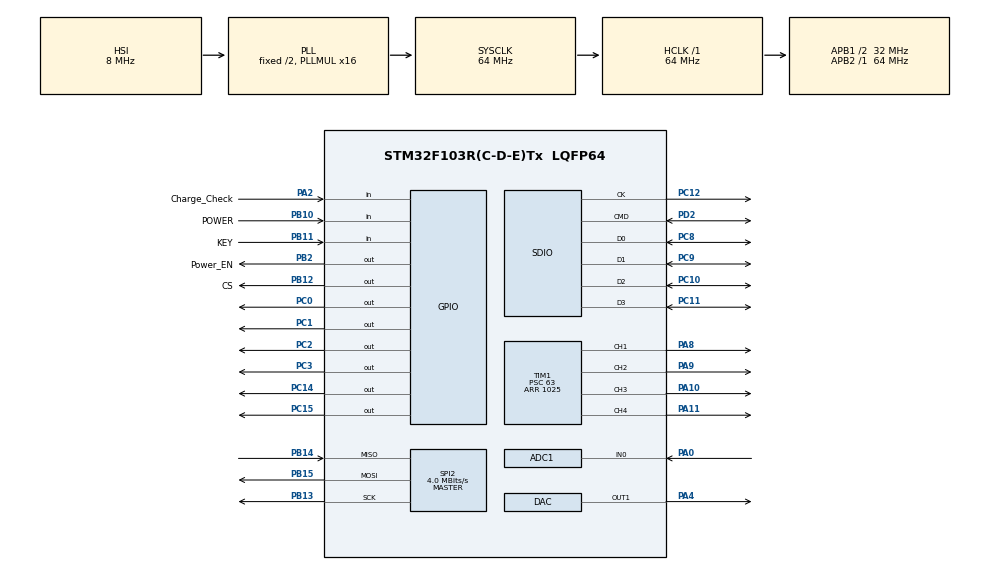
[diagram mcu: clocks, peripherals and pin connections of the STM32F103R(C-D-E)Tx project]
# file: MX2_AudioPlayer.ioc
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ADC1.Channel-0\#ChannelRegularConversion=ADC_CHANNEL_0
ADC1.ContinuousConvMode=ENABLE
ADC1.DataAlign=ADC_DATAALIGN_RIGHT
ADC1.DiscontinuousConvMode=DISABLE
ADC1.EnableAnalogWatchDog=false
ADC1.EnableRegularConversion=ENABLE
ADC1.ExternalTrigConv=ADC_SOFTWARE_START
ADC1.InjNumberOfConversion=0
ADC1.NbrOfConversion=1
ADC1.NbrOfConversionFlag=1
ADC1.Rank-0\#ChannelRegularConversion=1
ADC1.SamplingTime-0\#ChannelRegularConversion=ADC_SAMPLETIME_239CYCLES_5
ADC1.ScanConvMode=ADC_SCAN_DISABLE
ADC1.master=1
DAC.DAC_Trigger=DAC_TRIGGER_T7_TRGO
Dma.ADC1.0.Direction=DMA_PERIPH_TO_MEMORY
Dma.ADC1.0.Instance=DMA1_Channel1
Dma.ADC1.0.MemDataAlignment=DMA_MDATAALIGN_HALFWORD
Dma.ADC1.0.MemInc=DMA_MINC_ENABLE
Dma.ADC1.0.Mode=DMA_CIRCULAR
Dma.ADC1.0.PeriphDataAlignment=DMA_PDATAALIGN_HALFWORD
Dma.ADC1.0.PeriphInc=DMA_PINC_DISABLE
Dma.ADC1.0.Priority=DMA_PRIORITY_LOW
Dma.DAC_CH1.1.Direction=DMA_MEMORY_TO_PERIPH
Dma.DAC_CH1.1.Instance=DMA2_Channel3
Dma.DAC_CH1.1.MemDataAlignment=DMA_MDATAALIGN_HALFWORD
Dma.DAC_CH1.1.MemInc=DMA_MINC_ENABLE
Dma.DAC_CH1.1.Mode=DMA_NORMAL
Dma.DAC_CH1.1.PeriphDataAlignment=DMA_PDATAALIGN_HALFWORD
Dma.DAC_CH1.1.PeriphInc=DMA_PINC_DISABLE
Dma.DAC_CH1.1.Priority=DMA_PRIORITY_LOW
Dma.Request0=ADC1
Dma.Request1=DAC_CH1
FATFS._CODE_PAGE=437
FATFS._FS_MINIMIZE=1
FATFS._MAX_LFN=30
FATFS._USE_LFN=3
FATFS._USE_MKFS=0
FATFS._WORD_ACCESS=1
FREERTOS.BinarySemaphores01=DAC_Complete_Flag
FREERTOS.INCLUDE_uxTaskGetStackHighWaterMark=1
FREERTOS.Queues01=DAC_Buffer,3,uint32_t,NULL,Dynamic,NULL,NULL;DAC_CMD,16,uint32_t,NULL,Dynamic,NULL,NULL;LED_CMD,16,uint32_t,NULL,Dynamic,NULL,NULL
FREERTOS.Tasks01=defaultTask,2,1024,StartDefaultTask,As weak,NULL,Dynamic,NULL,NULL;DACTask,0,128,DACOutput,As weak,NULL,Dynamic,NULL,NULL;LEDTask,3,128,LEDOpra,As weak,NULL,Dynamic,NULL,NULL;WavTask,1,1024,Wav_Task,As weak,NULL,Dynamic,NULL,NULL
FREERTOS.configCHECK_FOR_STACK_OVERFLOW=2
FREERTOS.configTIMER_TASK_STACK_DEPTH=512
FREERTOS.configTOTAL_HEAP_SIZE=15000
FREERTOS.configUSE_MALLOC_FAILED_HOOK=1
Mcu.Family=STM32F1
Mcu.Name=STM32F103R(C-D-E)Tx
Mcu.Package=LQFP64
Mcu.UserConstants=PATH_CONFIG,"0\://SETTING.txt";WAV_BOOT,"0\:/System/Boot.wav";WAV_CHARGING,"0\:/System/charging.wav";WAV_COLORSWITCH,"0\:/System/ColorSwitch.wav";WAV_LOWPOWER,"0\:/System/lowpower.wav";WAV_POWEROFF,"0\:/System/Poweroff.wav";WAV_RECHARGE,"0\:/System/Recharge.wav";WAV_ERROR,"0\:/System/alarm.wav";Trigger_B_name,"Swing";Trigger_C_name,"Clash";Trigger_D_name,"Blaster";Trigger_E_name,"Lockup"
NVIC.DMA1_Channel1_IRQn=true\:5\:0\:true\:false\:true\:true
NVIC.DMA2_Channel3_IRQn=true\:5\:0\:false\:false\:true\:true
NVIC.PriorityGroup=NVIC_PRIORITYGROUP_4
NVIC.TIM6_IRQn=true\:0\:0\:false\:false\:true\:false
NVIC.TimeBase=TIM6_IRQn
NVIC.TimeBaseIP=TIM6
PA0-WKUP.Signal=ADCx_IN0
PA10.Signal=S_TIM1_CH3
PA11.Signal=S_TIM1_CH4
PA13.Mode=Trace_Asynchronous_SW
PA13.Signal=SYS_JTMS-SWDIO
PA14.Mode=Trace_Asynchronous_SW
PA14.Signal=SYS_JTCK-SWCLK
PA2.GPIO_Label=Charge_Check
PA2.GPIO_Mode=GPIO_MODE_INPUT
PA2.GPIO_PuPd=GPIO_NOPULL
PA2.Signal=GPIO_Input
PA4.Signal=COMP_DAC1_group
PA8.Signal=S_TIM1_CH1
PA9.Signal=S_TIM1_CH2
PB10.GPIO_Label=POWER
PB10.GPIO_Mode=GPIO_MODE_INPUT
PB10.GPIO_PuPd=GPIO_PULLDOWN
PB10.Signal=GPIO_Input
PB11.GPIO_Label=KEY
PB11.GPIO_Mode=GPIO_MODE_INPUT
PB11.GPIO_PuPd=GPIO_PULLUP
PB11.Signal=GPIO_Input
PB12.GPIO_Label=CS
PB12.GPIO_ModeDefaultOutputPP=GPIO_MODE_OUTPUT_PP
PB12.GPIO_Speed=GPIO_SPEED_FREQ_HIGH
PB12.PinState=GPIO_PIN_SET
PB12.Signal=GPIO_Output
PB13.Mode=Full_Duplex_Master
PB13.Signal=SPI2_SCK
PB14.Mode=Full_Duplex_Master
PB14.Signal=SPI2_MISO
PB15.Mode=Full_Duplex_Master
PB15.Signal=SPI2_MOSI
PB2.GPIO_Label=Power_EN
PB2.GPIO_ModeDefaultOutputPP=GPIO_MODE_OUTPUT_PP
PB2.GPIO_Speed=GPIO_SPEED_FREQ_LOW
PB2.PinState=GPIO_PIN_RESET
PB2.Signal=GPIO_Output
PB3.Mode=Trace_Asynchronous_SW
PB3.Signal=SYS_JTDO-TRACESWO
PC0.GPIO_ModeDefaultOutputPP=GPIO_MODE_OUTPUT_PP
PC0.GPIO_Speed=GPIO_SPEED_FREQ_LOW
PC0.PinState=GPIO_PIN_RESET
PC0.Signal=GPIO_Output
PC1.GPIO_ModeDefaultOutputPP=GPIO_MODE_OUTPUT_PP
PC1.GPIO_Speed=GPIO_SPEED_FREQ_LOW
PC1.PinState=GPIO_PIN_RESET
PC1.Signal=GPIO_Output
PC10.Mode=SD_4_bits_Wide_bus
PC10.Signal=SDIO_D2
PC11.Mode=SD_4_bits_Wide_bus
PC11.Signal=SDIO_D3
PC12.Mode=SD_4_bits_Wide_bus
PC12.Signal=SDIO_CK
PC14-OSC32_IN.GPIO_ModeDefaultOutputPP=GPIO_MODE_OUTPUT_PP
PC14-OSC32_IN.GPIO_Speed=GPIO_SPEED_FREQ_LOW
PC14-OSC32_IN.PinState=GPIO_PIN_RESET
PC14-OSC32_IN.Signal=GPIO_Output
PC15-OSC32_OUT.GPIO_ModeDefaultOutputPP=GPIO_MODE_OUTPUT_PP
PC15-OSC32_OUT.GPIO_Speed=GPIO_SPEED_FREQ_LOW
PC15-OSC32_OUT.PinState=GPIO_PIN_RESET
PC15-OSC32_OUT.Signal=GPIO_Output
PC2.GPIO_ModeDefaultOutputPP=GPIO_MODE_OUTPUT_PP
PC2.GPIO_Speed=GPIO_SPEED_FREQ_LOW
PC2.PinState=GPIO_PIN_RESET
PC2.Signal=GPIO_Output
PC3.GPIO_ModeDefaultOutputPP=GPIO_MODE_OUTPUT_PP
PC3.GPIO_Speed=GPIO_SPEED_FREQ_LOW
PC3.PinState=GPIO_PIN_RESET
PC3.Signal=GPIO_Output
PC8.Mode=SD_4_bits_Wide_bus
PC8.Signal=SDIO_D0
PC9.Mode=SD_4_bits_Wide_bus
PC9.Signal=SDIO_D1
PD2.Mode=SD_4_bits_Wide_bus
PD2.Signal=SDIO_CMD
ProjectManager.HeapSize=0x400
ProjectManager.StackSize=0x400
ProjectManager.TargetToolchain=SW4STM32
RCC.ADCPresc=RCC_ADCPCLK2_DIV8
RCC.AHBFreq_Value=64000000
RCC.APB1CLKDivider=RCC_HCLK_DIV2
RCC.APB1Freq_Value=32000000
RCC.APB1TimFreq_Value=64000000
RCC.APB2Freq_Value=64000000
RCC.APB2TimFreq_Value=64000000
RCC.HCLKFreq_Value=64000000
RCC.PLLMUL=RCC_PLL_MUL16
RCC.SYSCLKFreq_VALUE=64000000
RCC.SYSCLKSource=RCC_SYSCLKSOURCE_PLLCLK
RCC.USBFreq_Value=64000000
SDIO.ClockDiv=5
SH.ADCx_IN0.0=ADC1_IN0,IN0
SH.COMP_DAC1_group.0=DAC_OUT1,DAC_OUT1
SH.S_TIM1_CH1.0=TIM1_CH1,PWM Generation1 CH1
SH.S_TIM1_CH2.0=TIM1_CH2,PWM Generation2 CH2
SH.S_TIM1_CH3.0=TIM1_CH3,PWM Generation3 CH3
SH.S_TIM1_CH4.0=TIM1_CH4,PWM Generation4 CH4
SPI2.BaudRatePrescaler=SPI_BAUDRATEPRESCALER_8
SPI2.CalculateBaudRate=4.0 MBits/s
SPI2.Direction=SPI_DIRECTION_2LINES
SPI2.Mode=SPI_MODE_MASTER
SPI2.VirtualType=VM_MASTER
TIM1.Channel-PWM\ Generation1\ CH1=TIM_CHANNEL_1
TIM1.Channel-PWM\ Generation2\ CH2=TIM_CHANNEL_2
TIM1.Channel-PWM\ Generation3\ CH3=TIM_CHANNEL_3
TIM1.Channel-PWM\ Generation4\ CH4=TIM_CHANNEL_4
TIM1.Period=1025
TIM1.Prescaler=63
TIM7.Period=3152
TIM7.TIM_MasterOutputTrigger=TIM_TRGO_UPDATE
VP_FATFS_VS_SDIO.Mode=SDIO
VP_FREERTOS_VS_ENABLE.Mode=Enabled
VP_SYS_VS_tim6.Mode=TIM6
VP_TIM1_VS_ClockSourceINT.Mode=Internal
VP_TIM7_VS_ClockSourceINT.Mode=Enable_Timer
board=MX2_AudioPlayer

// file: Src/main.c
/**
  ******************************************************************************
  * File Name          : main.c
  * Description        : Main program body
  ******************************************************************************
  *
  * Copyright (c) 2017 STMicroelectronics International N.V.
  * All rights reserved.
  *
  * Redistribution and use in source and binary forms, with or without
  * modification, are permitted, provided that the following conditions are met:
  *
  * 1. Redistribution of source code must retain the above copyright notice,
  *    this list of conditions and the following disclaimer.
  * 2. Redistributions in binary form must reproduce the above copyright notice,
  *    this list of conditions and the following disclaimer in the documentation
  *    and/or other materials provided with the distribution.
  * 3. Neither the name of STMicroelectronics nor the names of other
  *    contributors to this software may be used to endorse or promote products
  *    derived from this software without specific written permission.
  * 4. This software, including modifications and/or derivative works of this
  *    software, must execute solely and exclusively on microcontroller or
  *    microprocessor devices manufactured by or for STMicroelectronics.
  * 5. Redistribution and use of this software other than as permitted under
  *    this license is void and will automatically terminate your rights under
  *    this license.
  *
  * THIS SOFTWARE IS PROVIDED BY STMICROELECTRONICS AND CONTRIBUTORS "AS IS"
  * AND ANY EXPRESS, IMPLIED OR STATUTORY WARRANTIES, INCLUDING, BUT NOT
  * LIMITED TO, THE IMPLIED WARRANTIES OF MERCHANTABILITY, FITNESS FOR A
  * PARTICULAR PURPOSE AND NON-INFRINGEMENT OF THIRD PARTY INTELLECTUAL PROPERTY
  * RIGHTS ARE DISCLAIMED TO THE FULLEST EXTENT PERMITTED BY LAW. IN NO EVENT
  * SHALL STMICROELECTRONICS OR CONTRIBUTORS BE LIABLE FOR ANY DIRECT, INDIRECT,
  * INCIDENTAL, SPECIAL, EXEMPLARY, OR CONSEQUENTIAL DAMAGES (INCLUDING, BUT NOT
  * LIMITED TO, PROCUREMENT OF SUBSTITUTE GOODS OR SERVICES; LOSS OF USE, DATA,
  * OR PROFITS; OR BUSINESS INTERRUPTION) HOWEVER CAUSED AND ON ANY THEORY OF
  * LIABILITY, WHETHER IN CONTRACT, STRICT LIABILITY, OR TORT (INCLUDING
  * NEGLIGENCE OR OTHERWISE) ARISING IN ANY WAY OUT OF THE USE OF THIS SOFTWARE,
  * EVEN IF ADVISED OF THE POSSIBILITY OF SUCH DAMAGE.
  *
  ******************************************************************************
  */
#include "main.h"
#include "stm32f1xx_hal.h"
#include "cmsis_os.h"
#include "adc.h"
#include "dac.h"
#include "dma.h"
#include "fatfs.h"
#include "sdio.h"
#include "spi.h"
#include "tim.h"
#include "gpio.h"
#include "MX.h"

/* USER CODE BEGIN Includes */
#include <stdio.h>
#include "Lis3D.h"
/* USER CODE END Includes */

/* USER CODE BEGIN PV */
/* Private variables ---------------------------------------------------------*/

/* USER CODE END PV */

void SystemClock_Config(void);
void Error_Handler(void);
void MX_FREERTOS_Init(void);

/* USER CODE BEGIN PFP */
/* Private function prototypes -----------------------------------------------*/

/* USER CODE END PFP */

int main(void)
{

  /* MCU Configuration----------------------------------------------------------*/

  /* Reset of all peripherals, Initializes the Flash interface and the Systick. */
  HAL_Init();

  /* Configure the system clock */
  SystemClock_Config();

  /* Initialize all configured peripherals */
  MX_GPIO_Init();
  MX_DMA_Init();
  MX_TIM1_Init();
  MX_DAC_Init();
  MX_SDIO_SD_Init();
  MX_SPI2_Init();
  MX_TIM7_Init();
  MX_ADC1_Init();

  /* USER CODE BEGIN 2 */
  Lis3d_Init();
  HAL_TIM_Base_Start(&htim7);
  MX_LOOP_Init();
  /* USER CODE END 2 */

  /* Call init function for freertos objects (in freertos.c) */
  MX_FREERTOS_Init();

  /* Start scheduler */
  osKernelStart();

  /* We should never get here as control is now taken by the scheduler */

  /* Infinite loop */
  while (1)
  {

  }

}

/** System Clock Configuration
*/
void SystemClock_Config(void)
{

  RCC_OscInitTypeDef RCC_OscInitStruct;
  RCC_ClkInitTypeDef RCC_ClkInitStruct;
  RCC_PeriphCLKInitTypeDef PeriphClkInit;

    /**Initializes the CPU, AHB and APB busses clocks
    */
  RCC_OscInitStruct.OscillatorType = RCC_OSCILLATORTYPE_HSI;
  RCC_OscInitStruct.HSIState = RCC_HSI_ON;
  RCC_OscInitStruct.HSICalibrationValue = 16;
  RCC_OscInitStruct.PLL.PLLState = RCC_PLL_ON;
  RCC_OscInitStruct.PLL.PLLSource = RCC_PLLSOURCE_HSI_DIV2;
  RCC_OscInitStruct.PLL.PLLMUL = RCC_PLL_MUL16;
  if (HAL_RCC_OscConfig(&RCC_OscInitStruct) != HAL_OK)
  {
    Error_Handler();
  }

    /**Initializes the CPU, AHB and APB busses clocks
    */
  RCC_ClkInitStruct.ClockType = RCC_CLOCKTYPE_HCLK|RCC_CLOCKTYPE_SYSCLK
                              |RCC_CLOCKTYPE_PCLK1|RCC_CLOCKTYPE_PCLK2;
  RCC_ClkInitStruct.SYSCLKSource = RCC_SYSCLKSOURCE_PLLCLK;
  RCC_ClkInitStruct.AHBCLKDivider = RCC_SYSCLK_DIV1;
  RCC_ClkInitStruct.APB1CLKDivider = RCC_HCLK_DIV2;
  RCC_ClkInitStruct.APB2CLKDivider = RCC_HCLK_DIV1;

  if (HAL_RCC_ClockConfig(&RCC_ClkInitStruct, FLASH_LATENCY_2) != HAL_OK)
  {
    Error_Handler();
  }

  PeriphClkInit.PeriphClockSelection = RCC_PERIPHCLK_ADC;
  PeriphClkInit.AdcClockSelection = RCC_ADCPCLK2_DIV8;
  if (HAL_RCCEx_PeriphCLKConfig(&PeriphClkInit) != HAL_OK)
  {
    Error_Handler();
  }

    /**Configure the Systick interrupt time
    */
  HAL_SYSTICK_Config(HAL_RCC_GetHCLKFreq()/1000);

    /**Configure the Systick
    */
  HAL_SYSTICK_CLKSourceConfig(SYSTICK_CLKSOURCE_HCLK);

  /* SysTick_IRQn interrupt configuration */
  HAL_NVIC_SetPriority(SysTick_IRQn, 15, 0);
}

/* USER CODE BEGIN 4 */
#ifdef __GUNU__
int _write(int fd, char *pBuffer, int size)
{
  HAL_UART_Transmit_DMA(&huart1, (uint8_t*)pBuffer, size);
  return size;
}
#eldef __CC_ARM
int fputc(int ch, FILE* f)
{
  HAL_UART_Transmit(&huart1, (uint8_t*)&ch, 1, 10);
  return ch;
}
#endif
/* USER CODE END 4 */

void HAL_TIM_PeriodElapsedCallback(TIM_HandleTypeDef *htim)
{
  if (htim->Instance == TIM6) {
    HAL_IncTick();
  }
}

void Error_Handler(void)
{
  while(1)
  {
  }
}

#ifdef USE_FULL_ASSERT

/**
   * @brief Reports the name of the source file and the source line number
   * where the assert_param error has occurred.
   * @param file: pointer to the source file name
   * @param line: assert_param error line source number
   * @retval None
   */
void assert_failed(uint8_t* file, uint32_t line)
{
  /* USER CODE BEGIN 6 */
  /* User can add his own implementation to report the file name and line number,
    ex: printf("Wrong parameters value: file %s on line %d\r\n", file, line) */
  printf("Wrong parameters value: file %s on line %ld\r\n", file, line);
  /* USER CODE END 6 */

}

#endif

/************************ (C) COPYRIGHT STMicroelectronics *****END OF FILE****/

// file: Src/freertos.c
/**
  ******************************************************************************
  * File Name          : freertos.c
  * Description        : Code for freertos applications
  ******************************************************************************
  *
  * Copyright (c) 2017 STMicroelectronics International N.V.
  * All rights reserved.
  *
  * Redistribution and use in source and binary forms, with or without
  * modification, are permitted, provided that the following conditions are met:
  *
  * 1. Redistribution of source code must retain the above copyright notice,
  *    this list of conditions and the following disclaimer.
  * 2. Redistributions in binary form must reproduce the above copyright notice,
  *    this list of conditions and the following disclaimer in the documentation
  *    and/or other materials provided with the distribution.
  * 3. Neither the name of STMicroelectronics nor the names of other
  *    contributors to this software may be used to endorse or promote products
  *    derived from this software without specific written permission.
  * 4. This software, including modifications and/or derivative works of this
  *    software, must execute solely and exclusively on microcontroller or
  *    microprocessor devices manufactured by or for STMicroelectronics.
  * 5. Redistribution and use of this software other than as permitted under
  *    this license is void and will automatically terminate your rights under
  *    this license.
  *
  * THIS SOFTWARE IS PROVIDED BY STMICROELECTRONICS AND CONTRIBUTORS "AS IS"
  * AND ANY EXPRESS, IMPLIED OR STATUTORY WARRANTIES, INCLUDING, BUT NOT
  * LIMITED TO, THE IMPLIED WARRANTIES OF MERCHANTABILITY, FITNESS FOR A
  * PARTICULAR PURPOSE AND NON-INFRINGEMENT OF THIRD PARTY INTELLECTUAL PROPERTY
  * RIGHTS ARE DISCLAIMED TO THE FULLEST EXTENT PERMITTED BY LAW. IN NO EVENT
  * SHALL STMICROELECTRONICS OR CONTRIBUTORS BE LIABLE FOR ANY DIRECT, INDIRECT,
  * INCIDENTAL, SPECIAL, EXEMPLARY, OR CONSEQUENTIAL DAMAGES (INCLUDING, BUT NOT
  * LIMITED TO, PROCUREMENT OF SUBSTITUTE GOODS OR SERVICES; LOSS OF USE, DATA,
  * OR PROFITS; OR BUSINESS INTERRUPTION) HOWEVER CAUSED AND ON ANY THEORY OF
  * LIABILITY, WHETHER IN CONTRACT, STRICT LIABILITY, OR TORT (INCLUDING
  * NEGLIGENCE OR OTHERWISE) ARISING IN ANY WAY OUT OF THE USE OF THIS SOFTWARE,
  * EVEN IF ADVISED OF THE POSSIBILITY OF SUCH DAMAGE.
  *
  ******************************************************************************
  */

#include "FreeRTOS.h"
#include "task.h"
#include "cmsis_os.h"

/* USER CODE BEGIN Includes */
#include "stm32f1xx_hal.h"
/* USER CODE END Includes */

osThreadId defaultTaskHandle;
osThreadId DACTaskHandle;
osThreadId LEDTaskHandle;
osThreadId WavTaskHandle;
osMessageQId DAC_BufferHandle;
osMessageQId DAC_CMDHandle;
osMessageQId LED_CMDHandle;
osSemaphoreId DAC_Complete_FlagHandle;

/* USER CODE BEGIN Variables */
osThreadId SimpleLEDHandle;
/* USER CODE END Variables */

void StartDefaultTask(void const * argument);
void DACOutput(void const * argument);
void LEDOpra(void const * argument);
void Wav_Task(void const * argument);

extern void MX_FATFS_Init(void);
void MX_FREERTOS_Init(void); /* (MISRA C 2004 rule 8.1) */

/* USER CODE BEGIN FunctionPrototypes */
extern void SimpleLED_Handle(void const *arg);
/* USER CODE END FunctionPrototypes */

/* Hook prototypes */
void vApplicationStackOverflowHook(xTaskHandle xTask, signed char *pcTaskName);
void vApplicationMallocFailedHook(void);

/* USER CODE BEGIN 4 */
__weak void vApplicationStackOverflowHook(xTaskHandle xTask, signed char *pcTaskName)
{
   /* Run time stack overflow checking is performed if
   configCHECK_FOR_STACK_OVERFLOW is defined to 1 or 2. This hook function is
   called if a stack overflow is detected. */
   __ASM("BKPT 0");
   printf("[FreeRTOS]:a stack overflow is detected.\r\n");
}
/* USER CODE END 4 */

/* USER CODE BEGIN 5 */
__weak void vApplicationMallocFailedHook(void)
{
   /* vApplicationMallocFailedHook() will only be called if
   configUSE_MALLOC_FAILED_HOOK is set to 1 in FreeRTOSConfig.h. It is a hook
   function that will get called if a call to pvPortMalloc() fails.
   pvPortMalloc() is called internally by the kernel whenever a task, queue,
   timer or semaphore is created. It is also called by various parts of the
   demo application. If heap_1.c or heap_2.c are used, then the size of the
   heap available to pvPortMalloc() is defined by configTOTAL_HEAP_SIZE in
   FreeRTOSConfig.h, and the xPortGetFreeHeapSize() API function can be used
   to query the size of free heap space that remains (although it does not
   provide information on how the remaining heap might be fragmented). */
   __ASM("BKPT 0");
   printf("[FreeRTOS]:Malloc Failed.\r\n");
}
/* USER CODE END 5 */

/* Init FreeRTOS */

void MX_FREERTOS_Init(void) {

  /* Create the semaphores(s) */
  /* definition and creation of DAC_Complete_Flag */
  osSemaphoreDef(DAC_Complete_Flag);
  DAC_Complete_FlagHandle = osSemaphoreCreate(osSemaphore(DAC_Complete_Flag), 1);

  /* Create the thread(s) */
  /* definition and creation of defaultTask */
  osThreadDef(defaultTask, StartDefaultTask, osPriorityHigh, 0, 1024);
  defaultTaskHandle = osThreadCreate(osThread(defaultTask), NULL);

  /* definition and creation of DACTask */
  osThreadDef(DACTask, DACOutput, osPriorityNormal, 0, 128);
  DACTaskHandle = osThreadCreate(osThread(DACTask), NULL);

  /* definition and creation of LEDTask */
  osThreadDef(LEDTask, LEDOpra, osPriorityRealtime, 0, 128);
  LEDTaskHandle = osThreadCreate(osThread(LEDTask), NULL);

  /* definition and creation of WavTask */
  osThreadDef(WavTask, Wav_Task, osPriorityAboveNormal, 0, 1024);
  WavTaskHandle = osThreadCreate(osThread(WavTask), NULL);

  /* USER CODE BEGIN RTOS_THREADS */
  /* add threads, ... */
  osThreadDef(SimpleLED, SimpleLED_Handle, osPriorityLow, 0, 128);
  SimpleLEDHandle = osThreadCreate(osThread(SimpleLED), NULL);
  /* USER CODE END RTOS_THREADS */

  /* Create the queue(s) */
  /* definition and creation of DAC_Buffer */
  osMessageQDef(DAC_Buffer, 3, uint32_t);
  DAC_BufferHandle = osMessageCreate(osMessageQ(DAC_Buffer), NULL);

  /* definition and creation of DAC_CMD */
  osMessageQDef(DAC_CMD, 16, uint32_t);
  DAC_CMDHandle = osMessageCreate(osMessageQ(DAC_CMD), NULL);

  /* definition and creation of LED_CMD */
  osMessageQDef(LED_CMD, 16, uint32_t);
  LED_CMDHandle = osMessageCreate(osMessageQ(LED_CMD), NULL);

}

/* StartDefaultTask function */
__weak void StartDefaultTask(void const * argument)
{
  /* init code for FATFS */
  MX_FATFS_Init();

  for(;;)
  {
    osDelay(1);
  }
}

/* DACOutput function */
__weak void DACOutput(void const * argument)
{
  for(;;)
  {
    osDelay(1);
  }
}

/* LEDOpra function */
__weak void LEDOpra(void const * argument)
{
  /* USER CODE BEGIN LEDOpra */
  /* Infinite loop */
  for(;;)
  {
    osDelay(1000);
  }
  /* USER CODE END LEDOpra */
}

/* Wav_Task function */
__weak void Wav_Task(void const * argument)
{
  /* USER CODE BEGIN Wav_Task */
  /* Infinite loop */
  for(;;)
  {
    osDelay(1000);
  }
  /* USER CODE END Wav_Task */
}

/* USER CODE BEGIN Application */

__weak void SimpleLED_Handle(void const* arg)
{
    for(;;)
    {
        osDelay(1000);
    }
}
/* USER CODE END Application */

/************************ (C) COPYRIGHT STMicroelectronics *****END OF FILE****/
